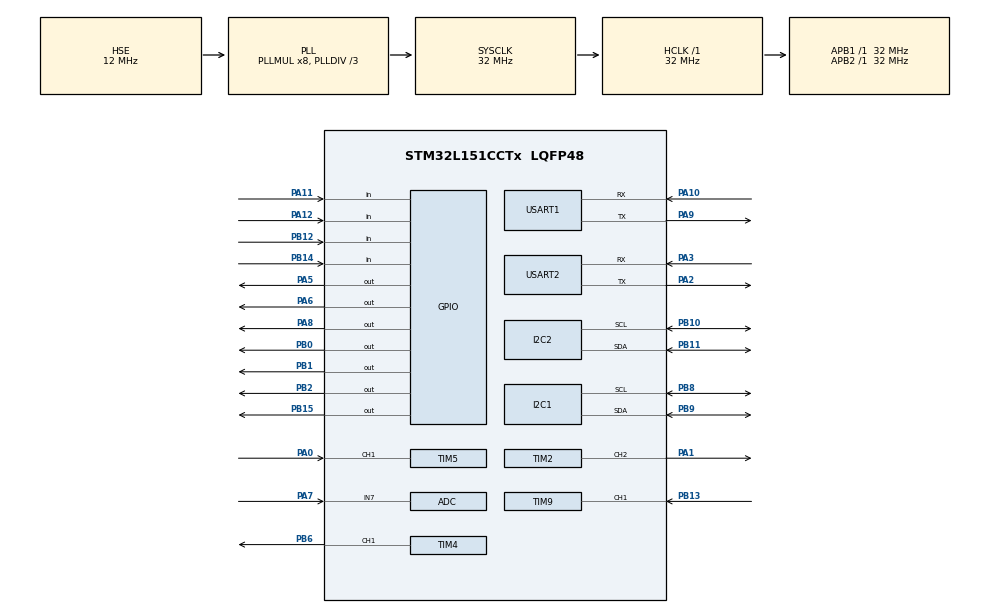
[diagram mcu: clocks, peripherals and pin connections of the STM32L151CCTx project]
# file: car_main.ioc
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ADC.Channel-0\#ChannelRegularConversion=ADC_CHANNEL_7
ADC.NbrOfConversionFlag=1
ADC.Rank-0\#ChannelRegularConversion=1
ADC.SamplingTime-0\#ChannelRegularConversion=ADC_SAMPLETIME_4CYCLES
Dma.Request0=USART2_RX
Dma.Request1=USART2_TX
Dma.USART2_RX.0.Direction=DMA_PERIPH_TO_MEMORY
Dma.USART2_RX.0.Instance=DMA1_Channel6
Dma.USART2_RX.0.MemDataAlignment=DMA_MDATAALIGN_BYTE
Dma.USART2_RX.0.MemInc=DMA_MINC_ENABLE
Dma.USART2_RX.0.Mode=DMA_NORMAL
Dma.USART2_RX.0.PeriphDataAlignment=DMA_PDATAALIGN_BYTE
Dma.USART2_RX.0.PeriphInc=DMA_PINC_DISABLE
Dma.USART2_RX.0.Priority=DMA_PRIORITY_HIGH
Dma.USART2_TX.1.Direction=DMA_MEMORY_TO_PERIPH
Dma.USART2_TX.1.Instance=DMA1_Channel7
Dma.USART2_TX.1.MemDataAlignment=DMA_MDATAALIGN_BYTE
Dma.USART2_TX.1.MemInc=DMA_MINC_ENABLE
Dma.USART2_TX.1.Mode=DMA_NORMAL
Dma.USART2_TX.1.PeriphDataAlignment=DMA_PDATAALIGN_BYTE
Dma.USART2_TX.1.PeriphInc=DMA_PINC_DISABLE
Dma.USART2_TX.1.Priority=DMA_PRIORITY_HIGH
I2C1.I2C_Mode=I2C_Fast
Mcu.Family=STM32L1
Mcu.Name=STM32L151CCTx
Mcu.Package=LQFP48
NVIC.DMA1_Channel6_IRQn=true\:0\:0\:false\:false\:true\:false\:true\:true
NVIC.DMA1_Channel7_IRQn=true\:0\:0\:false\:false\:true\:false\:true\:true
NVIC.I2C1_ER_IRQn=true\:0\:0\:false\:false\:true\:true\:true\:true
NVIC.I2C1_EV_IRQn=true\:0\:0\:false\:false\:true\:true\:true\:true
NVIC.I2C2_ER_IRQn=true\:0\:0\:false\:false\:true\:true\:true\:true
NVIC.I2C2_EV_IRQn=true\:0\:0\:false\:false\:true\:true\:true\:true
NVIC.PriorityGroup=NVIC_PRIORITYGROUP_4
NVIC.TIM3_IRQn=true\:0\:0\:false\:false\:true\:true\:true\:true
NVIC.USART1_IRQn=true\:0\:0\:false\:false\:true\:true\:true\:true
NVIC.USART2_IRQn=true\:0\:0\:false\:false\:true\:true\:true\:true
PA0-WKUP1.Signal=S_TIM5_CH1
PA1.Signal=S_TIM2_CH2
PA10.Mode=Asynchronous
PA10.Signal=USART1_RX
PA11.GPIO_PuPd=GPIO_PULLUP
PA11.Signal=GPIO_Input
PA12.GPIO_PuPd=GPIO_PULLUP
PA12.Signal=GPIO_Input
PA13.Mode=Serial_Wire
PA13.Signal=SYS_JTMS-SWDIO
PA14.Mode=Serial_Wire
PA14.Signal=SYS_JTCK-SWCLK
PA2.Mode=Asynchronous
PA2.Signal=USART2_TX
PA3.Mode=Asynchronous
PA3.Signal=USART2_RX
PA5.Signal=GPIO_Output
PA6.Signal=GPIO_Output
PA7.Mode=IN7
PA7.Signal=ADC_IN7
PA8.GPIO_Speed=GPIO_SPEED_FREQ_VERY_HIGH
PA8.PinState=GPIO_PIN_SET
PA8.Signal=GPIO_Output
PA9.Mode=Asynchronous
PA9.Signal=USART1_TX
PB0.GPIO_Speed=GPIO_SPEED_FREQ_VERY_HIGH
PB0.PinState=GPIO_PIN_SET
PB0.Signal=GPIO_Output
PB1.GPIO_Speed=GPIO_SPEED_FREQ_VERY_HIGH
PB1.PinState=GPIO_PIN_SET
PB1.Signal=GPIO_Output
PB10.Mode=I2C
PB10.Signal=I2C2_SCL
PB11.Mode=I2C
PB11.Signal=I2C2_SDA
PB12.GPIO_PuPd=GPIO_NOPULL
PB12.Signal=GPIO_Input
PB13.Signal=S_TIM9_CH1
PB14.GPIO_PuPd=GPIO_NOPULL
PB14.Signal=GPIO_Input
PB15.GPIO_Speed=GPIO_SPEED_FREQ_VERY_HIGH
PB15.PinState=GPIO_PIN_SET
PB15.Signal=GPIO_Output
PB2.GPIO_Speed=GPIO_SPEED_FREQ_VERY_HIGH
PB2.PinState=GPIO_PIN_SET
PB2.Signal=GPIO_Output
PB6.Signal=S_TIM4_CH1
PB8.Mode=I2C
PB8.Signal=I2C1_SCL
PB9.Mode=I2C
PB9.Signal=I2C1_SDA
PH0-OSC_IN.Mode=HSE-External-Oscillator
PH0-OSC_IN.Signal=RCC_OSC_IN
PH1-OSC_OUT.Mode=HSE-External-Oscillator
PH1-OSC_OUT.Signal=RCC_OSC_OUT
ProjectManager.HeapSize=0x200
ProjectManager.StackSize=0x400
ProjectManager.TargetToolchain=STM32CubeIDE
RCC.48MHZClocksFreq_Value=48000000
RCC.AHBFreq_Value=32000000
RCC.APB1Freq_Value=32000000
RCC.APB1TimFreq_Value=32000000
RCC.APB2Freq_Value=32000000
RCC.APB2TimFreq_Value=32000000
RCC.HCLKFreq_Value=32000000
RCC.HSE_VALUE=12000000
RCC.HSI_VALUE=16000000
RCC.LSE_VALUE=32768
RCC.MSI_VALUE=2097000
RCC.PLLDIV=RCC_PLL_DIV3
RCC.PLLMUL=RCC_PLL_MUL8
RCC.PLLSourceVirtual=RCC_PLLSOURCE_HSE
RCC.SYSCLKFreq_VALUE=32000000
RCC.SYSCLKSource=RCC_SYSCLKSOURCE_PLLCLK
RCC.VCOOutputFreq_Value=96000000
SH.S_TIM2_CH2.0=TIM2_CH2,PWM Generation2 CH2
SH.S_TIM4_CH1.0=TIM4_CH1,PWM Generation1 CH1
SH.S_TIM5_CH1.0=TIM5_CH1,Input_Capture1_from_TI1
SH.S_TIM9_CH1.0=TIM9_CH1,Input_Capture1_from_TI1
TIM2.Channel-PWM\ Generation2\ CH2=TIM_CHANNEL_2
TIM2.Prescaler=31
TIM4.Channel-PWM\ Generation1\ CH1=TIM_CHANNEL_1
TIM4.Prescaler=1599
TIM5.Channel-Input_Capture1_from_TI1=TIM_CHANNEL_1
TIM9.Channel-Input_Capture1_from_TI1=TIM_CHANNEL_1
USART1.VirtualMode=VM_ASYNC
USART2.VirtualMode=VM_ASYNC
VP_TIM3_VS_ClockSourceINT.Mode=Internal
board=custom

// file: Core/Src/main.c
/* USER CODE BEGIN Header */
/**
  ******************************************************************************
  * @file           : main.c
  * @brief          : Main program body
  ******************************************************************************
  * @attention
  *
  * Copyright (c) 2025 STMicroelectronics.
  * All rights reserved.
  *
  * This software is licensed under terms that can be found in the LICENSE file
  * in the root directory of this software component.
  * If no LICENSE file comes with this software, it is provided AS-IS.
  *
  ******************************************************************************
  */
/* USER CODE END Header */
#include "main.h"
#include "adc.h"
#include "dma.h"
#include "i2c.h"
#include "tim.h"
#include "usart.h"
#include "gpio.h"

/* USER CODE BEGIN Includes */
#include "common.h"

#include "modules/acellerometer.h"
#include "modules/battery_sensor.h"
#include "modules/bluetooth.h"
#include "modules/motor.h"
#include "modules/ranging_sensor.h"
#include "modules/servo.h"
#include "modules/speedometers.h"
#include "modules/wifi.h"
#include "modules/malfunction.h"

/* USER CODE END Includes */

/* USER CODE BEGIN PTD */
typedef enum {
    ACCELEROMETER,
    SPEEDOMETERS_MAG,
    SPEEDOMETERS_OPT,
    BATTERY_SENSOR,
    RANGING_SENSOR
} telem_state_t;
/* USER CODE END PTD */

/* USER CODE BEGIN PD */
#define MAX_TELEM_STATE 5
#define TELEM_WAIT_MS 1000 / MAX_TELEM_STATE
/* USER CODE END PD */

/* USER CODE BEGIN PV */
telem_state_t telem_state = ACCELEROMETER;

int flag_send_data = 0;

uint32_t telem_last_tick;
/* USER CODE END PV */

void SystemClock_Config(void);

int main(void)
{

  /* MCU Configuration--------------------------------------------------------*/

  /* Reset of all peripherals, Initializes the Flash interface and the Systick. */
  HAL_Init();

  /* Configure the system clock */
  SystemClock_Config();

  /* Initialize all configured peripherals */
  MX_GPIO_Init();
  MX_DMA_Init();
  MX_ADC_Init();
  MX_I2C1_Init();
  MX_I2C2_Init();
  MX_TIM2_Init();
  MX_TIM4_Init();
  MX_TIM5_Init();
  MX_TIM9_Init();
  MX_USART1_UART_Init();
  MX_USART2_UART_Init();
  MX_TIM3_Init();
  /* USER CODE BEGIN 2 */
//  __disable_irq();
  __enable_irq();

  telem_last_tick = HAL_GetTick();
  init_malfunction_detection();
  init_gyroscope();
//  init_mag_rotation_speed_meter();
//  init_opt_rotation_speed_meter();
  init_batt_sense();
  init_ranging_sensor();
  init_motor();
  init_servo();
  init_wifi();
//  init_bluetooth();

//  __enable_irq();

  /* USER CODE END 2 */

  /* Infinite loop */
  /* USER CODE BEGIN WHILE */
  while (1)
  {
	  perform_wifi_control_step();

	  detect_malfunction();

	  perform_motor_control_step();
	  perform_servo_control_step();

	  if(HAL_GetTick() - telem_last_tick > TELEM_WAIT_MS){
		  switch (telem_state) {
			case ACCELEROMETER:
				read_accelleration();
				break;
			case SPEEDOMETERS_MAG:
//				read_speed_mag();
				break;
			case SPEEDOMETERS_OPT:
//				read_speed_mag_opt();
				break;
			case BATTERY_SENSOR:
				read_batt_sense();
				break;
			case RANGING_SENSOR:
				read_distance();
        flag_send_data = 1;
				break;
			default:
				break;
		  }
//		  telem_state = (telem_state + 1) % MAX_TELEM_STATE;
		  telem_state = RANGING_SENSOR;
      telem_last_tick = HAL_GetTick();
//		  telem_state = (telem_state == MAX_TELEM_STATE - 1)? 0 : telem_state + 1;
	  }

    /* USER CODE END WHILE */

  }
}

void SystemClock_Config(void)
{
  RCC_OscInitTypeDef RCC_OscInitStruct = {0};
  RCC_ClkInitTypeDef RCC_ClkInitStruct = {0};

  /** Configure the main internal regulator output voltage
  */
  __HAL_PWR_VOLTAGESCALING_CONFIG(PWR_REGULATOR_VOLTAGE_SCALE1);

  /** Initializes the RCC Oscillators according to the specified parameters
  * in the RCC_OscInitTypeDef structure.
  */
  RCC_OscInitStruct.OscillatorType = RCC_OSCILLATORTYPE_HSI|RCC_OSCILLATORTYPE_HSE;
  RCC_OscInitStruct.HSEState = RCC_HSE_ON;
  RCC_OscInitStruct.HSIState = RCC_HSI_ON;
  RCC_OscInitStruct.HSICalibrationValue = RCC_HSICALIBRATION_DEFAULT;
  RCC_OscInitStruct.PLL.PLLState = RCC_PLL_ON;
  RCC_OscInitStruct.PLL.PLLSource = RCC_PLLSOURCE_HSE;
  RCC_OscInitStruct.PLL.PLLMUL = RCC_PLL_MUL8;
  RCC_OscInitStruct.PLL.PLLDIV = RCC_PLL_DIV3;
  if (HAL_RCC_OscConfig(&RCC_OscInitStruct) != HAL_OK)
  {
    Error_Handler();
  }

  /** Initializes the CPU, AHB and APB buses clocks
  */
  RCC_ClkInitStruct.ClockType = RCC_CLOCKTYPE_HCLK|RCC_CLOCKTYPE_SYSCLK
                              |RCC_CLOCKTYPE_PCLK1|RCC_CLOCKTYPE_PCLK2;
  RCC_ClkInitStruct.SYSCLKSource = RCC_SYSCLKSOURCE_PLLCLK;
  RCC_ClkInitStruct.AHBCLKDivider = RCC_SYSCLK_DIV1;
  RCC_ClkInitStruct.APB1CLKDivider = RCC_HCLK_DIV1;
  RCC_ClkInitStruct.APB2CLKDivider = RCC_HCLK_DIV1;

  if (HAL_RCC_ClockConfig(&RCC_ClkInitStruct, FLASH_LATENCY_1) != HAL_OK)
  {
    Error_Handler();
  }
}

void Error_Handler(void)
{
  __disable_irq();
  while (1)
  {
  }
}
